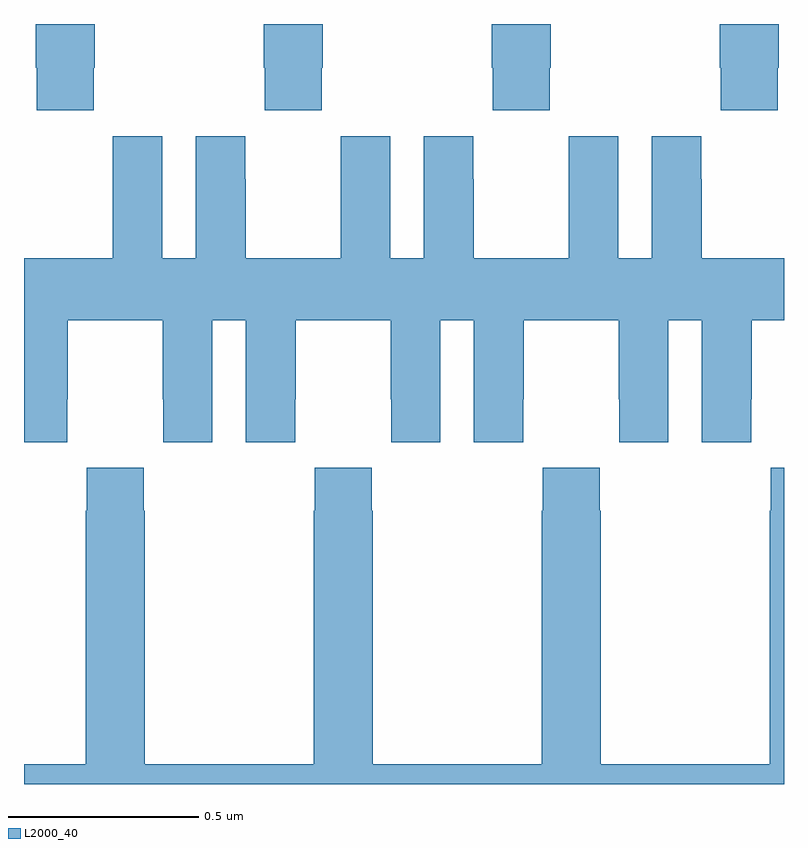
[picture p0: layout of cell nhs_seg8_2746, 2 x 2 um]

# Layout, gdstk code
import gdstk
lib = gdstk.Library(unit=1e-6, precision=1e-09)
def P(c, l, *ps):  # polygons
    for p in ps: c.add(gdstk.Polygon(p, *l))
L2000_40 = (2000, 40)

nhs_seg8_2746 = lib.new_cell('nhs_seg8_2746')
P(nhs_seg8_2746, L2000_40, [(147.783,1163.785),(147.786,1163.785),(147.786,1163.9),(147.631,1163.9),(147.631,1163.785),(147.633,1163.785),(147.633,1163.673),(147.783,1163.673)],
  [(148.983,1163.785),(148.986,1163.785),(148.986,1163.9),(148.831,1163.9),(148.831,1163.785),(148.833,1163.785),(148.833,1163.673),(148.983,1163.673)],
  [(148.383,1163.785),(148.386,1163.785),(148.386,1163.9),(148.231,1163.9),(148.231,1163.785),(148.233,1163.785),(148.233,1163.673),(148.383,1163.673)],
  [(147.183,1163.785),(147.186,1163.785),(147.186,1163.9),(147.031,1163.9),(147.031,1163.785),(147.033,1163.785),(147.033,1163.673),(147.183,1163.673)],
  [(147.114,1162.912),(147.115,1162.912),(147.115,1163.12),(147.365,1163.12),(147.365,1162.912),(147.366,1162.912),(147.366,1162.8),(147.496,1162.8),(147.496,1163.12),(147.584,1163.12),(147.584,1162.8),(147.714,1162.8),(147.714,1162.912),(147.715,1162.912),(147.715,1163.12),(147.965,1163.12),(147.965,1162.912),(147.966,1162.912),(147.966,1162.8),(148.096,1162.8),(148.096,1163.12),(148.184,1163.12),(148.184,1162.8),(148.314,1162.8),(148.314,1162.912),(148.315,1162.912),(148.315,1163.12),(148.565,1163.12),(148.565,1162.912),(148.566,1162.912),(148.566,1162.8),(148.696,1162.8),(148.696,1163.12),(148.784,1163.12),(148.784,1162.8),(148.914,1162.8),(148.914,1162.912),(148.915,1162.912),(148.915,1163.12),(149,1163.12),(149,1163.284),(148.783,1163.284),(148.783,1163.492),(148.782,1163.492),(148.782,1163.605),(148.652,1163.605),(148.652,1163.284),(148.564,1163.284),(148.564,1163.605),(148.434,1163.605),(148.434,1163.492),(148.433,1163.492),(148.433,1163.284),(148.183,1163.284),(148.183,1163.492),(148.182,1163.492),(148.182,1163.605),(148.052,1163.605),(148.052,1163.284),(147.964,1163.284),(147.964,1163.605),(147.834,1163.605),(147.834,1163.492),(147.833,1163.492),(147.833,1163.284),(147.583,1163.284),(147.583,1163.492),(147.582,1163.492),(147.582,1163.605),(147.452,1163.605),(147.452,1163.284),(147.364,1163.284),(147.364,1163.605),(147.234,1163.605),(147.234,1163.492),(147.233,1163.492),(147.233,1163.284),(147,1163.284),(147,1162.8),(147.114,1162.8)],
  [(149,1162.732),(148.965,1162.732),(148.965,1162.619),(148.963,1162.619),(148.963,1161.952),(148.518,1161.952),(148.518,1162.619),(148.515,1162.619),(148.515,1162.732),(148.365,1162.732),(148.365,1162.619),(148.363,1162.619),(148.363,1161.952),(147.918,1161.952),(147.918,1162.619),(147.915,1162.619),(147.915,1162.732),(147.765,1162.732),(147.765,1162.619),(147.763,1162.619),(147.763,1161.952),(147.318,1161.952),(147.318,1162.619),(147.315,1162.619),(147.315,1162.732),(147.165,1162.732),(147.165,1162.619),(147.163,1162.619),(147.163,1161.952),(147,1161.952),(147,1161.9),(149,1161.9)])

lib.write_gds('nhs_seg8_2746.gds')
